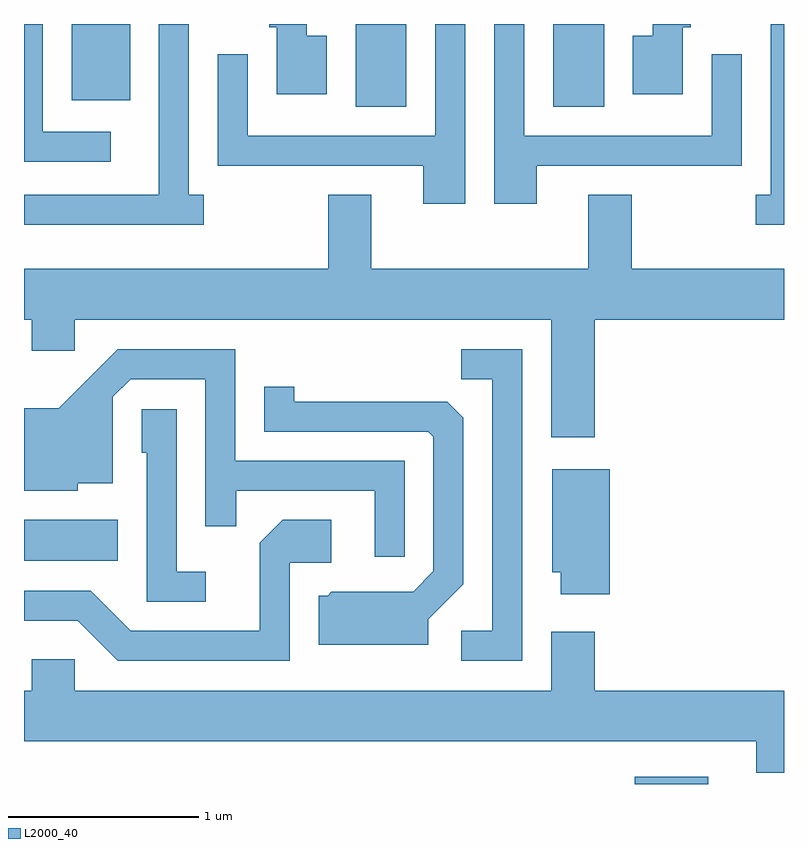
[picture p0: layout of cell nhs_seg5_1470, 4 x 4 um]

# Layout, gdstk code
import gdstk
lib = gdstk.Library(unit=1e-6, precision=1e-09)
def R(c, l, rs):  # rectangles x0, y0, x1, y1
    for r in rs: c.add(gdstk.rectangle(r[:2], r[2:], *l))
def P(c, l, *ps):  # polygons
    for p in ps: c.add(gdstk.Polygon(p, *l))
L2000_40 = (2000, 40)

nhs_seg5_1470 = lib.new_cell('nhs_seg5_1470')
R(nhs_seg5_1470, L2000_40, [(230.826,1512.072,231.213,1512.109), (227.611,1513.246,228.104,1513.464), (229.356,1515.636,229.624,1516.072), (230.396,1515.636,230.664,1516.072), (227.861,1515.671,228.169,1516.072)])
P(nhs_seg5_1470, L2000_40, [(230.309,1515.326),(231.389,1515.326),(231.389,1515.913),(231.231,1515.913),(231.231,1515.484),(230.244,1515.484),(230.244,1516.072),(230.086,1516.072),(230.086,1515.126),(230.309,1515.126)],
  [(228.558,1515.174),(228.479,1515.174),(228.479,1516.072),(228.321,1516.072),(228.321,1515.174),(227.611,1515.174),(227.611,1515.016),(228.558,1515.016)],
  [(228.068,1515.504),(227.709,1515.504),(227.709,1516.072),(227.611,1516.072),(227.611,1515.346),(228.068,1515.346)],
  [(231.079,1516.056),(231.119,1516.056),(231.119,1516.072),(230.921,1516.072),(230.921,1516.009),(230.816,1516.009),(230.816,1515.701),(231.079,1515.701)],
  [(231.611,1516.072),(231.541,1516.072),(231.541,1515.174),(231.463,1515.174),(231.463,1515.016),(231.611,1515.016)],
  [(229.204,1516.009),(229.099,1516.009),(229.099,1516.072),(228.901,1516.072),(228.901,1516.056),(228.941,1516.056),(228.941,1515.701),(229.204,1515.701)],
  [(229.934,1516.072),(229.776,1516.072),(229.776,1515.484),(228.789,1515.484),(228.789,1515.913),(228.631,1515.913),(228.631,1515.326),(229.711,1515.326),(229.711,1515.126),(229.934,1515.126)],
  [(230.614,1514.516),(231.611,1514.516),(231.611,1514.784),(230.809,1514.784),(230.809,1515.174),(230.581,1515.174),(230.581,1514.784),(229.439,1514.784),(229.439,1515.174),(229.211,1515.174),(229.211,1514.784),(227.611,1514.784),(227.611,1514.516),(227.651,1514.516),(227.651,1514.351),(227.879,1514.351),(227.879,1514.516),(230.386,1514.516),(230.386,1513.896),(230.614,1513.896)],
  [(229.614,1513.774),(228.724,1513.774),(228.724,1514.359),(228.104,1514.359),(227.794,1514.049),(227.611,1514.049),(227.611,1513.616),(227.894,1513.616),(227.894,1513.656),(228.079,1513.656),(228.079,1514.109),(228.172,1514.201),(228.566,1514.201),(228.566,1513.428),(228.729,1513.428),(228.729,1513.616),(229.456,1513.616),(229.456,1513.268),(229.614,1513.268)],
  [(230.234,1514.359),(229.913,1514.359),(229.913,1514.201),(230.076,1514.201),(230.076,1512.879),(229.913,1512.879),(229.913,1512.721),(230.234,1512.721)],
  [(229.739,1512.939),(229.924,1513.124),(229.924,1513.999),(229.839,1514.084),(229.034,1514.084),(229.034,1514.163),(228.876,1514.163),(228.876,1513.926),(229.739,1513.926),(229.766,1513.899),(229.766,1513.192),(229.659,1513.084),(229.229,1513.084),(229.209,1513.064),(229.161,1513.064),(229.161,1512.806),(229.739,1512.806)],
  [(228.568,1513.189),(228.414,1513.189),(228.414,1514.044),(228.231,1514.044),(228.231,1513.816),(228.256,1513.816),(228.256,1513.031),(228.568,1513.031)],
  [(230.694,1513.729),(230.391,1513.729),(230.391,1513.186),(230.436,1513.186),(230.436,1513.071),(230.694,1513.071)],
  [(229.009,1513.236),(229.229,1513.236),(229.229,1513.464),(228.974,1513.464),(228.851,1513.342),(228.851,1512.879),(228.172,1512.879),(227.962,1513.089),(227.611,1513.089),(227.611,1512.931),(227.894,1512.931),(228.104,1512.721),(229.009,1512.721)],
  [(231.611,1512.564),(230.614,1512.564),(230.614,1512.874),(230.386,1512.874),(230.386,1512.564),(227.879,1512.564),(227.879,1512.729),(227.651,1512.729),(227.651,1512.564),(227.611,1512.564),(227.611,1512.296),(231.466,1512.296),(231.466,1512.131),(231.611,1512.131)])

lib.write_gds('nhs_seg5_1470.gds')
